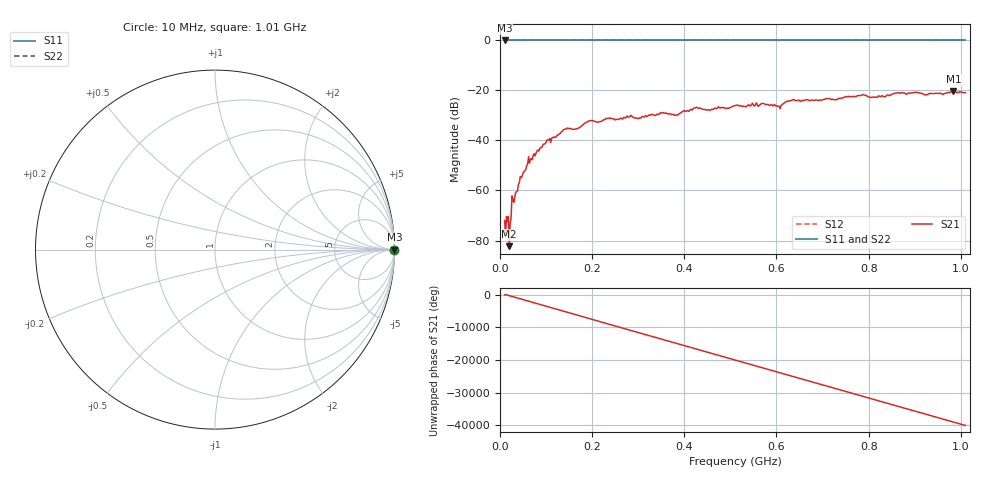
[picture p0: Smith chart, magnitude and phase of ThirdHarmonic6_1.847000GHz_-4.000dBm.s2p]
! 8/16/2025 10:20:58 PM
! C:\ANRITSUVNA\TEMP\TEMP.S2P
! CHANNEL.1
! TR.MEASUREMENT
! RAW.DATA
! RF.CORRECTION.OFF
! AVERAGING.OFF
! IF.BANDWIDTH: 5KHZ
! SWEEPTYPE:  FREQ.SWEEP(Linear)
! Reference Plane Port Info
! PORT:  PORT1  PORT2
! DISTANCE:  0  m  0  m
! TIME:  0  s  0  s
! PHASE.OFFSET:  0  deg.  0  deg.
! LOSS:  0  dB  0  dB
! REF.LOSS:  0  dB  0  dB
! REF.FREQ:  0  Hz  0  Hz
! Power Info
! POWER:  -20  dBm  -20  dBm
! EFF.POWER:  -20  dBm  -20  dBm
! SOURCE.ATTEN:  0  dB  0  dB
! TEST.ATTEN:  0  dB  0  dB
# GHZ S RI R 50.0
! FREQ.GHZ  S11RE  S11IM  S21RE  S21IM  S12RE  S12IM  S22RE  S22IM
!; PortSelection: Port_12
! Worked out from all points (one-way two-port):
!   501 points, 10 MHz to 1.01 GHz, reference 50 ohm
!   highest |S21| = -20.41 dB at 984 MHz (marker M1); lowest = -82.3 dB at 20 MHz (marker M2)
!   lowest |S11| = 0.0 dB at 10 MHz (marker M3)
!   |S11| at or under -10 dB: nowhere
!   |S22| runs from 0.0 to 0.0 dB; largest |S21 - S12| = 1.1
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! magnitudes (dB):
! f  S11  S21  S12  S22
! 10 MHz  0.0  -72.0  0.0  0.0
! 14 MHz  0.0  -70.4  0.0  0.0
! 16 MHz  0.0  -72.5  0.0  0.0
! 20 MHz  0.0  -82.3  0.0  0.0
! 30 MHz  0.0  -64.8  0.0  0.0
! 48 MHz  0.0  -54.4  0.0  0.0
! 64 MHz  0.0  -49.0  0.0  0.0
! 104 MHz  0.0  -39.8  0.0  0.0
! 142 MHz  0.0  -35.5  0.0  0.0
! 178 MHz  0.0  -34.0  0.0  0.0
! 196 MHz  0.0  -32.1  0.0  0.0
! 344 MHz  0.0  -29.6  0.0  0.0
! 382 MHz  0.0  -29.8  0.0  0.0
! 424 MHz  0.0  -27.0  0.0  0.0
! 452 MHz  0.0  -27.7  0.0  0.0
! 510 MHz  0.0  -26.0  0.0  0.0
! 604 MHz  0.0  -26.2  0.0  0.0
! 634 MHz  0.0  -23.9  0.0  0.0
! 678 MHz  0.0  -23.8  0.0  0.0
! 844 MHz  0.0  -22.0  0.0  0.0
! 984 MHz  0.0  -20.4  0.0  0.0
! 1.01 GHz  0.0  -20.9  0.0  0.0
